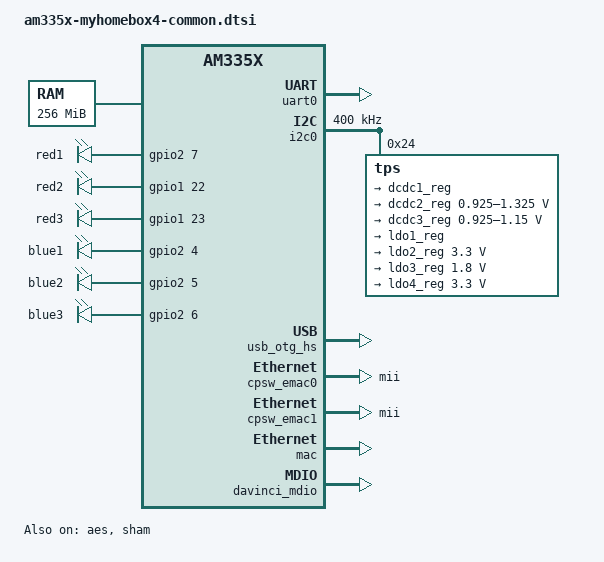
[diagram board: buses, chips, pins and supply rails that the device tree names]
/*
 * Copyright (C) 2012 Texas Instruments Incorporated - http://www.ti.com/
 *
 * This program is free software; you can redistribute it and/or modify
 * it under the terms of the GNU General Public License version 2 as
 * published by the Free Software Foundation.
 */

/ {
	cpus {
		cpu@0 {
			cpu0-supply = <&dcdc2_reg>;
		};
	};

	memory {
		device_type = "memory";
		reg = <0x80000000 0x10000000>; /* 256 MB */
	};

	leds {
		compatible = "gpio-leds";

		led@1 {
			label = "red1";
			gpios = <&gpio2 7 0>;
			default-state = "on";
		};

		led@2 {
			label = "red2";
			gpios = <&gpio1 22 0>;
			default-state = "on";
		};

		led@3 {
			label = "red3";
			gpios = <&gpio1 23 0>;
			default-state = "on";
		};

		led@4 {
			label = "blue1";
			gpios = <&gpio2 4 0>;
			default-state = "off";
		};

		led@5 {
			label = "blue2";
			gpios = <&gpio2 5 0>;
			default-state = "off";
		};

		led@6 {
			label = "blue3";
			gpios = <&gpio2 6 0>;
			default-state = "off";
		};

	};

};

&am33xx_pinmux {
	pinctrl-names = "default";

	i2c0_pins: pinmux_i2c0_pins {
		pinctrl-single,pins = <
			0x188 0x70 	/* i2c0_sda, SLEWCTRL_SLOW | INPUT_PULLUP | MODE0 */
			0x18c 0x70	/* i2c0_scl, SLEWCTRL_SLOW | INPUT_PULLUP | MODE0 */
		>;
	};

	uart0_pins: pinmux_uart0_pins {
		pinctrl-single,pins = <
			0x170 (PIN_INPUT_PULLUP | MUX_MODE0)	/* uart0_rxd.uart0_rxd */
			0x174 (PIN_OUTPUT_PULLDOWN | MUX_MODE0)	/* uart0_txd.uart0_txd */
		>;
	};

	cpsw_default: cpsw_default {
		pinctrl-single,pins = <
			/* Slave 1 */
			0x108 (PIN_INPUT | MUX_MODE0)		/* mii1_col.mii1_col */
			0x10c (PIN_INPUT | MUX_MODE0)		/* mii1_crs.mii1_crs */
			0x110 (PIN_INPUT_PULLUP | MUX_MODE0)	/* mii1_rxerr.mii1_rxerr */
			0x114 (PIN_OUTPUT_PULLDOWN | MUX_MODE0)	/* mii1_txen.mii1_txen */
			0x118 (PIN_INPUT_PULLUP | MUX_MODE0)	/* mii1_rxdv.mii1_rxdv */
			0x11c (PIN_OUTPUT_PULLDOWN | MUX_MODE0)	/* mii1_txd3.mii1_txd3 */
			0x120 (PIN_OUTPUT_PULLDOWN | MUX_MODE0)	/* mii1_txd2.mii1_txd2 */
			0x124 (PIN_OUTPUT_PULLDOWN | MUX_MODE0)	/* mii1_txd1.mii1_txd1 */
			0x128 (PIN_OUTPUT_PULLDOWN | MUX_MODE0)	/* mii1_txd0.mii1_txd0 */
			0x12c (PIN_INPUT_PULLUP | MUX_MODE0)	/* mii1_txclk.mii1_txclk */
			0x130 (PIN_INPUT_PULLUP | MUX_MODE0)	/* mii1_rxclk.mii1_rxclk */
			0x134 (PIN_INPUT_PULLUP | MUX_MODE0)	/* mii1_rxd3.mii1_rxd3 */
			0x138 (PIN_INPUT_PULLUP | MUX_MODE0)	/* mii1_rxd2.mii1_rxd2 */
			0x13c (PIN_INPUT_PULLUP | MUX_MODE0)	/* mii1_rxd1.mii1_rxd1 */
			0x140 (PIN_INPUT_PULLUP | MUX_MODE0)	/* mii1_rxd0.mii1_rxd0 */
		>;
	};

	cpsw_sleep: cpsw_sleep {
		pinctrl-single,pins = <
			/* Slave 1 reset value */
			0x108 (PIN_INPUT_PULLDOWN | MUX_MODE7)
			0x10c (PIN_INPUT_PULLDOWN | MUX_MODE7)
			0x110 (PIN_INPUT_PULLDOWN | MUX_MODE7)
			0x114 (PIN_INPUT_PULLDOWN | MUX_MODE7)
			0x118 (PIN_INPUT_PULLDOWN | MUX_MODE7)
			0x11c (PIN_INPUT_PULLDOWN | MUX_MODE7)
			0x120 (PIN_INPUT_PULLDOWN | MUX_MODE7)
			0x124 (PIN_INPUT_PULLDOWN | MUX_MODE7)
			0x128 (PIN_INPUT_PULLDOWN | MUX_MODE7)
			0x12c (PIN_INPUT_PULLDOWN | MUX_MODE7)
			0x130 (PIN_INPUT_PULLDOWN | MUX_MODE7)
			0x134 (PIN_INPUT_PULLDOWN | MUX_MODE7)
			0x138 (PIN_INPUT_PULLDOWN | MUX_MODE7)
			0x13c (PIN_INPUT_PULLDOWN | MUX_MODE7)
			0x140 (PIN_INPUT_PULLDOWN | MUX_MODE7)
		>;
	};

	davinci_mdio_default: davinci_mdio_default {
		pinctrl-single,pins = <
			/* MDIO */
			0x148 (PIN_INPUT_PULLUP | SLEWCTRL_FAST | MUX_MODE0)	/* mdio_data.mdio_data */
			0x14c (PIN_OUTPUT_PULLUP | MUX_MODE0)			/* mdio_clk.mdio_clk */
		>;
	};

	davinci_mdio_sleep: davinci_mdio_sleep {
		pinctrl-single,pins = <
			/* MDIO reset value */
			0x148 (PIN_INPUT_PULLDOWN | MUX_MODE7)
			0x14c (PIN_INPUT_PULLDOWN | MUX_MODE7)
		>;
	};

        mmc2_pins: pinmux_mmc2_pins {
                pinctrl-single,pins = <
                        0x74 (PIN_INPUT_PULLUP | MUX_MODE7)     /* gpmc_wpn.gpio0_31 */
                        0x80 (PIN_INPUT_PULLUP | MUX_MODE2)     /* gpmc_csn1.mmc1_clk */
                        0x84 (PIN_INPUT_PULLUP | MUX_MODE2)     /* gpmc_csn2.mmc1_cmd */
                        0x00 (PIN_INPUT_PULLUP | MUX_MODE1)     /* gpmc_ad0.mmc1_dat0 */
                        0x04 (PIN_INPUT_PULLUP | MUX_MODE1)     /* gpmc_ad1.mmc1_dat1 */
                        0x08 (PIN_INPUT_PULLUP | MUX_MODE1)     /* gpmc_ad2.mmc1_dat2 */
                        0x0c (PIN_INPUT_PULLUP | MUX_MODE1)     /* gpmc_ad3.mmc1_dat3 */
                >;
        };

};

&uart0 {
	pinctrl-names = "default";
	pinctrl-0 = <&uart0_pins>;

	status = "okay";
};

&i2c0 {
	pinctrl-names = "default";
	pinctrl-0 = <&i2c0_pins>;

	status = "okay";
	clock-frequency = <400000>;

	tps: tps@24 {
		reg = <0x24>;
	};

};

/include/ "tps65217.dtsi"

&tps {
	/*
	 * Configure pmic to enter OFF-state instead of SLEEP-state ("RTC-only
	 * mode") at poweroff.  Most BeagleBone versions do not support RTC-only
	 * mode and risk hardware damage if this mode is entered.
	 *
	 * For details, see linux-omap mailing list May 2015 thread
	 *	[PATCH] ARM: dts: am335x-bone* enable pmic-shutdown-controller
	 * In particular, messages:
	 *	http://www.spinics.net/lists/linux-omap/msg118585.html
	 *	http://www.spinics.net/lists/linux-omap/msg118615.html
	 *
	 * You can override this later with
	 *	&tps {  /delete-property/ ti,pmic-shutdown-controller;  }
	 * if you want to use RTC-only mode and made sure you are not affected
	 * by the hardware problems. (Tip: double-check by performing a current
	 * measurement after shutdown: it should be less than 1 mA.)
	 */
	ti,pmic-shutdown-controller;

	regulators {
		dcdc1_reg: regulator@0 {
			regulator-name = "vdds_dpr";
			regulator-always-on;
		};

		dcdc2_reg: regulator@1 {
			/* VDD_MPU voltage limits 0.95V - 1.26V with +/-4% tolerance */
			regulator-name = "vdd_mpu";
			regulator-min-microvolt = <925000>;
			regulator-max-microvolt = <1325000>;
			regulator-boot-on;
			regulator-always-on;
		};

		dcdc3_reg: regulator@2 {
			/* VDD_CORE voltage limits 0.95V - 1.1V with +/-4% tolerance */
			regulator-name = "vdd_core";
			regulator-min-microvolt = <925000>;
			regulator-max-microvolt = <1150000>;
			regulator-boot-on;
			regulator-always-on;
		};

		ldo1_reg: regulator@3 {
			regulator-name = "vio,vrtc,vdds";
			regulator-always-on;
		};

		ldo2_reg: regulator@4 {
			regulator-name = "vdd_3v3aux";
			regulator-min-microvolt = <3300000>;
			regulator-max-microvolt = <3300000>;
			regulator-always-on;
		};

		ldo3_reg: regulator@5 {
			regulator-name = "vdd_1v8";
			regulator-min-microvolt = <1800000>;
			regulator-max-microvolt = <1800000>;
			regulator-always-on;
		};

		ldo4_reg: regulator@6 {
			regulator-name = "vdd_3v3a";
			regulator-min-microvolt = <3300000>;
			regulator-max-microvolt = <3300000>;
			regulator-always-on;
		};
	};
};

&usb_otg_hs {
	interface_type = <1>;
	power = <500>;
	status = "okay";
};

&cpsw_emac0 {
	phy_id = <&davinci_mdio>, <0>;
	phy-mode = "mii";
};

&cpsw_emac1 {
	phy_id = <&davinci_mdio>, <1>;
	phy-mode = "mii";
};

&mac {
	pinctrl-names = "default", "sleep";
	pinctrl-0 = <&cpsw_default>;
	pinctrl-1 = <&cpsw_sleep>;
	status = "okay";
};

&davinci_mdio {
	pinctrl-names = "default", "sleep";
	pinctrl-0 = <&davinci_mdio_default>;
	pinctrl-1 = <&davinci_mdio_sleep>;
	status = "okay";
};

&aes {
	status = "okay";
};

&sham {
	status = "okay";
};

&wkup_m3_ipc {
	ti,scale-data-fw = "am335x-bone-scale-data.bin";
};
